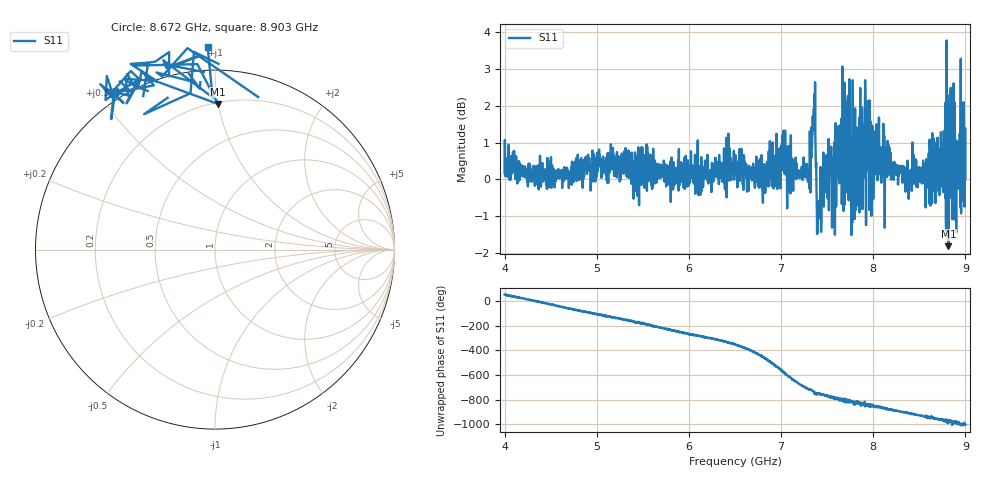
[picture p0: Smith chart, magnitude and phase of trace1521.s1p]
! Created with skrf 1.8.0 (http://scikit-rf.org).
# Hz S RI R 50.0
!freq ReS11 ImS11
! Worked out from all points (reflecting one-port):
!   1601 points, 4 GHz to 9 GHz, reference 50 ohm
!   lowest |S11| = -1.8 dB at 8.816 GHz (marker M1), VSWR 9.64, Z = 10.5 + j49.9 ohm
!   phase of S11 starts at 51 deg and turns -1054 deg over the sweep
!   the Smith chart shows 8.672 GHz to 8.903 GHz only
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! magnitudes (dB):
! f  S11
! 4 GHz  0.2
! 4.625 GHz  -0.2
! 5.25 GHz  -0.1
! 5.875 GHz  0.1
! 6.5 GHz  0.6
! 6.816 GHz  0.4
! 7.022 GHz  1.1
! 7.125 GHz  0.5
! 7.294 GHz  0.0
! 7.347 GHz  1.4
! 7.412 GHz  -0.8
! 7.472 GHz  0.1
! 7.578 GHz  0.3
! 7.647 GHz  1.5
! 7.709 GHz  0.4
! 7.75 GHz  1.1
! 7.788 GHz  0.0
! 7.928 GHz  1.4
! 7.981 GHz  -1.0
! 8.05 GHz  1.3
! 8.375 GHz  -0.2
! 8.666 GHz  0.4
! 8.759 GHz  0.0
! 8.769 GHz  0.6
! 8.816 GHz  -1.8
! 8.919 GHz  -0.1
! 8.959 GHz  1.9
! 9 GHz  0.0
